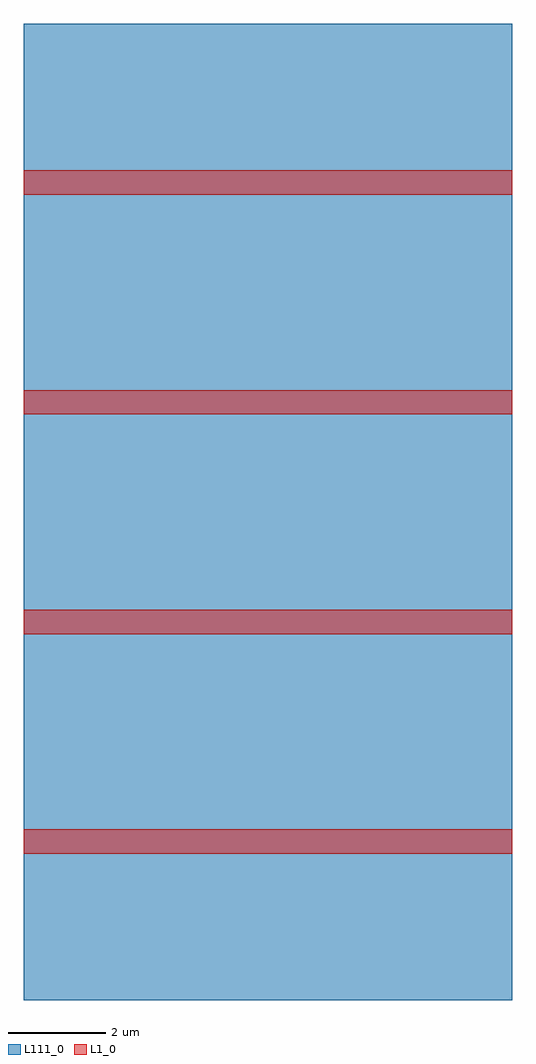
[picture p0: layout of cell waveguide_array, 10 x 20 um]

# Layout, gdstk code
import gdstk
lib = gdstk.Library(unit=1e-6, precision=1e-09)
def R(c, l, rs):  # rectangles x0, y0, x1, y1
    for r in rs: c.add(gdstk.rectangle(r[:2], r[2:], *l))
def A(c, l, x, y, w, h, nx, ny, dx, dy):  # array of equal rectangles
    R(c, l, [(x+i*dx, y+j*dy, x+i*dx+w, y+j*dy+h) for i in range(nx) for j in range(ny)])
L1_0 = (1, 0)
L111_0 = (111, 0)

waveguide_array = lib.new_cell('waveguide_array')
A(waveguide_array, L1_0, 0, -0.25, 10, 0.5, 1, 4, 0, 4.5)
A(waveguide_array, L111_0, 0, -3.25, 10, 6.5, 1, 4, 0, 4.5)

lib.write_gds('waveguide_array.gds')
